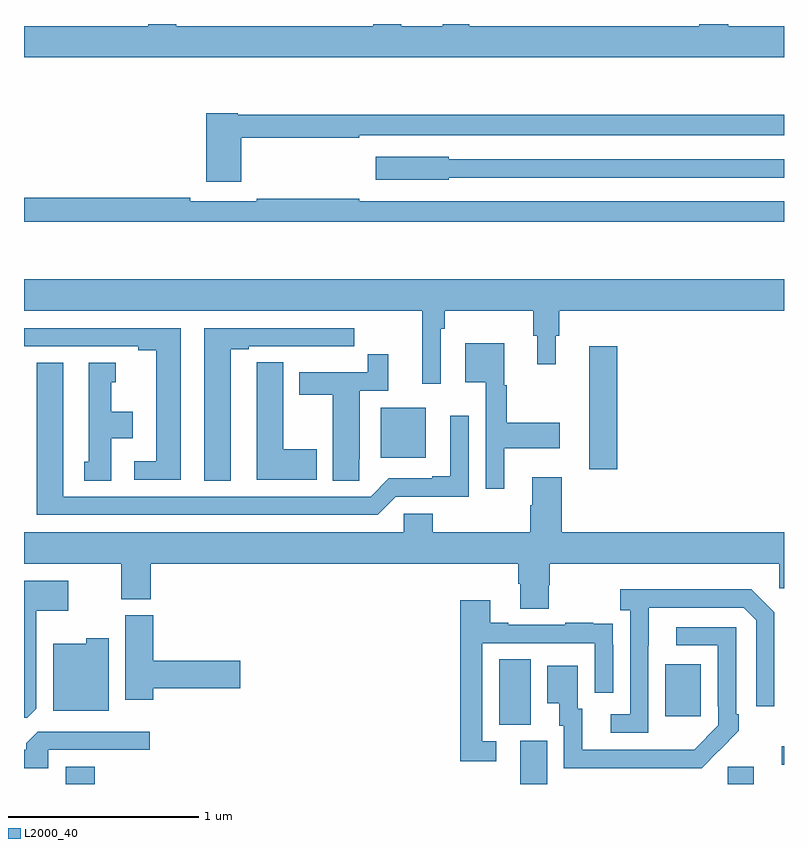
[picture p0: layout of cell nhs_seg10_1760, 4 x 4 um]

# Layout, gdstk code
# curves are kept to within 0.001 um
import gdstk
lib = gdstk.Library(unit=1e-6, precision=1e-09)
def R(c, l, rs):  # rectangles x0, y0, x1, y1
    for r in rs: c.add(gdstk.rectangle(r[:2], r[2:], *l))
def P(c, l, *ps):  # polygons
    for p in ps: c.add(gdstk.Polygon(p, *l))
L2000_40 = (2000, 40)

nhs_seg10_1760 = lib.new_cell('nhs_seg10_1760')
R(nhs_seg10_1760, L2000_40, [(203.219,1288.5,203.372,1288.591), (205.613,1288.5,205.753,1288.728), (206.703,1288.5,206.842,1288.59), (206.988,1288.602,207,1288.699), (205.502,1288.813,205.666,1289.156), (206.375,1288.857,206.563,1289.131), (205.976,1290.156,206.123,1290.805), (204.878,1290.218,205.114,1290.481)])
P(nhs_seg10_1760, L2000_40, [(207,1292.488),(206.707,1292.488),(206.707,1292.5),(206.555,1292.5),(206.555,1292.488),(205.344,1292.488),(205.344,1292.5),(205.205,1292.5),(205.205,1292.488),(204.985,1292.488),(204.985,1292.5),(204.838,1292.5),(204.838,1292.488),(203.8,1292.488),(203.8,1292.5),(203.653,1292.5),(203.653,1292.488),(203,1292.488),(203,1292.324),(207,1292.324)],
  [(204.143,1291.902),(204.764,1291.902),(204.764,1291.914),(207,1291.914),(207,1292.023),(204.126,1292.023),(204.126,1292.031),(203.96,1292.031),(203.96,1291.671),(204.143,1291.671)],
  [(205.236,1291.692),(207,1291.692),(207,1291.788),(205.236,1291.788),(205.236,1291.801),(204.852,1291.801),(204.852,1291.679),(205.236,1291.679)],
  [(207,1291.566),(204.764,1291.566),(204.764,1291.579),(204.226,1291.579),(204.226,1291.566),(203.876,1291.566),(203.876,1291.586),(203,1291.586),(203,1291.458),(207,1291.458)],
  [(205.194,1290.896),(205.214,1290.896),(205.214,1290.992),(205.681,1290.992),(205.681,1290.858),(205.7,1290.858),(205.7,1290.708),(205.798,1290.708),(205.798,1290.858),(205.817,1290.858),(205.817,1290.992),(207,1290.992),(207,1291.156),(203,1291.156),(203,1290.992),(205.097,1290.992),(205.097,1290.606),(205.194,1290.606)],
  [(203.824,1290.9),(203,1290.9),(203,1290.804),(203.6,1290.804),(203.6,1290.784),(203.696,1290.784),(203.696,1290.198),(203.58,1290.198),(203.58,1290.102),(203.824,1290.102)],
  [(204.088,1290.789),(204.184,1290.789),(204.184,1290.804),(204.46,1290.804),(204.46,1290.803),(204.626,1290.803),(204.626,1290.804),(204.739,1290.804),(204.739,1290.9),(203.948,1290.9),(203.948,1290.097),(204.088,1290.097)],
  [(205.528,1290.266),(205.819,1290.266),(205.819,1290.401),(205.54,1290.401),(205.54,1290.6),(205.528,1290.6),(205.528,1290.82),(205.322,1290.82),(205.322,1290.614),(205.431,1290.614),(205.431,1290.054),(205.528,1290.054)],
  [(204.765,1290.208),(204.766,1290.208),(204.766,1290.57),(204.917,1290.57),(204.917,1290.763),(204.808,1290.763),(204.808,1290.666),(204.449,1290.666),(204.449,1290.55),(204.626,1290.55),(204.626,1290.097),(204.765,1290.097)],
  [(204.541,1290.261),(204.364,1290.261),(204.364,1290.719),(204.225,1290.719),(204.225,1290.611),(204.224,1290.611),(204.224,1290.101),(204.541,1290.101)],
  [(204.957,1290.012),(205.341,1290.012),(205.341,1290.439),(205.244,1290.439),(205.244,1290.121),(205.148,1290.121),(205.148,1290.108),(204.921,1290.108),(204.825,1290.012),(203.206,1290.012),(203.206,1290.718),(203.066,1290.718),(203.066,1289.916),(204.861,1289.916)],
  [(203.458,1290.32),(203.572,1290.32),(203.572,1290.46),(203.458,1290.46),(203.458,1290.615),(203.482,1290.615),(203.482,1290.718),(203.342,1290.718),(203.342,1290.195),(203.318,1290.195),(203.318,1290.097),(203.458,1290.097)],
  [(205.761,1289.547),(205.766,1289.547),(205.766,1289.66),(206.976,1289.66),(206.976,1289.529),(207,1289.529),(207,1289.824),(205.829,1289.824),(205.829,1290.115),(205.676,1290.115),(205.676,1289.966),(205.664,1289.966),(205.664,1289.824),(205.151,1289.824),(205.151,1289.922),(204.999,1289.922),(204.999,1289.824),(203,1289.824),(203,1289.66),(203.513,1289.66),(203.513,1289.473),(203.666,1289.473),(203.666,1289.66),(205.601,1289.66),(205.601,1289.554),(205.613,1289.554),(205.613,1289.422),(205.761,1289.422)],
  [(203.065,1288.897),(203.065,1289.411),(203.233,1289.411),(203.233,1289.569),(203,1289.569),(203,1288.848),(203.016,1288.848)],
  [(206.286,1289.227),(206.287,1289.427),(206.787,1289.427),(206.853,1289.361),(206.853,1288.908),(206.949,1288.908),(206.949,1289.403),(206.828,1289.524),(206.139,1289.524),(206.139,1289.414),(206.19,1289.414),(206.19,1288.866),(206.088,1288.866),(206.088,1288.77),(206.286,1288.77)],
  [(205.486,1288.725),(205.413,1288.725),(205.413,1289.241),(206.004,1289.241),(206.004,1288.98),(206.1,1288.98),(206.1,1289.234),(206.099,1289.234),(206.099,1289.343),(205.997,1289.343),(205.997,1289.35),(205.849,1289.35),(205.849,1289.337),(205.549,1289.337),(205.549,1289.35),(205.453,1289.35),(205.453,1289.467),(205.297,1289.467),(205.297,1288.62),(205.486,1288.62)],
  [(203.681,1289.003),(204.139,1289.003),(204.139,1289.15),(203.681,1289.15),(203.681,1289.388),(203.534,1289.388),(203.534,1288.944),(203.681,1288.944)],
  [(206.657,1288.675),(206.658,1288.674),(206.763,1288.779),(206.763,1288.867),(206.748,1288.867),(206.748,1289.325),(206.433,1289.325),(206.433,1289.229),(206.652,1289.229),(206.652,1288.909),(206.655,1288.909),(206.655,1288.809),(206.527,1288.681),(205.939,1288.68),(205.939,1288.896),(205.915,1288.896),(205.915,1289.122),(205.754,1289.122),(205.754,1288.925),(205.817,1288.925),(205.817,1288.806),(205.842,1288.806),(205.842,1288.584),(206.566,1288.584)],
  [(203.446,1289.266),(203.328,1289.266),(203.328,1289.239),(203.153,1289.239),(203.153,1288.886),(203.446,1288.886)],
  [(203.127,1288.68),(203.662,1288.68),(203.662,1288.776),(203.073,1288.776),(203.012,1288.714),(203.012,1288.68),(203,1288.68),(203,1288.584),(203.127,1288.584)])

lib.write_gds('nhs_seg10_1760.gds')
